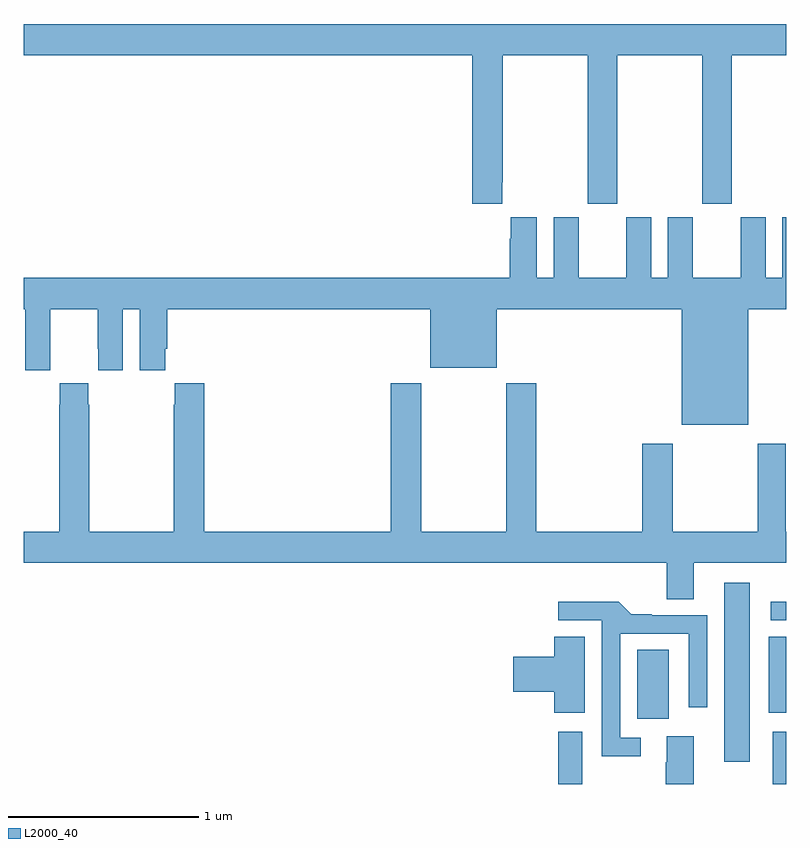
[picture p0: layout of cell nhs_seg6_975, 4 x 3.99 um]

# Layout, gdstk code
import gdstk
lib = gdstk.Library(unit=1e-6, precision=1e-09)
def R(c, l, rs):  # rectangles x0, y0, x1, y1
    for r in rs: c.add(gdstk.rectangle(r[:2], r[2:], *l))
def P(c, l, *ps):  # polygons
    for p in ps: c.add(gdstk.Polygon(p, *l))
L2000_40 = (2000, 40)

nhs_seg6_975 = lib.new_cell('nhs_seg6_975')
R(nhs_seg6_975, L2000_40, [(173.804,955.5,173.929,955.774), (174.929,955.5,175,955.774), (174.674,955.617,174.808,956.557), (174.218,955.842,174.385,956.204), (174.908,955.875,175,956.273), (174.918,956.358,175,956.456)])
P(nhs_seg6_975, L2000_40, [(173.509,958.657),(173.514,958.657),(173.514,959.324),(173.959,959.324),(173.959,958.545),(174.114,958.545),(174.114,959.324),(174.559,959.324),(174.559,958.545),(174.714,958.545),(174.714,959.324),(175,959.324),(175,959.488),(171,959.488),(171,959.324),(173.354,959.324),(173.354,958.545),(173.509,958.545)],
  [(174.802,957.992),(175,957.992),(175,958.474),(174.98,958.474),(174.98,958.156),(174.892,958.156),(174.892,958.474),(174.761,958.474),(174.761,958.156),(174.511,958.156),(174.511,958.474),(174.38,958.474),(174.38,958.156),(174.292,958.156),(174.292,958.474),(174.161,958.474),(174.161,958.156),(173.911,958.156),(173.911,958.474),(173.78,958.474),(173.78,958.156),(173.692,958.156),(173.692,958.474),(173.555,958.474),(173.555,958.361),(173.549,958.361),(173.549,958.156),(171,958.156),(171,957.992),(171.008,957.992),(171.008,957.672),(171.138,957.672),(171.138,957.784),(171.139,957.784),(171.139,957.992),(171.389,957.992),(171.389,957.784),(171.39,957.784),(171.39,957.672),(171.52,957.672),(171.52,957.992),(171.608,957.992),(171.608,957.672),(171.742,957.672),(171.742,957.784),(171.752,957.784),(171.752,957.992),(173.132,957.992),(173.132,957.683),(173.482,957.683),(173.482,957.992),(174.452,957.992),(174.452,957.386),(174.802,957.386)],
  [(171.793,957.604),(171.793,957.491),(171.787,957.491),(171.787,956.824),(171.342,956.824),(171.342,957.491),(171.339,957.491),(171.339,957.604),(171.189,957.604),(171.189,957.491),(171.187,957.491),(171.187,956.824),(171,956.824),(171,956.66),(174.374,956.66),(174.374,956.47),(174.514,956.47),(174.514,956.66),(175,956.66),(175,956.824),(174.997,956.824),(174.997,957.286),(174.85,957.286),(174.85,956.824),(174.405,956.824),(174.405,957.286),(174.245,957.286),(174.245,956.824),(173.69,956.824),(173.69,957.604),(173.53,957.604),(173.53,956.824),(173.085,956.824),(173.085,957.604),(172.925,957.604),(172.925,956.824),(171.947,956.824),(171.947,957.604)],
  [(174.238,955.743),(174.129,955.743),(174.129,956.289),(174.489,956.289),(174.489,955.902),(174.585,955.902),(174.585,956.385),(174.295,956.385),(174.295,956.39),(174.187,956.39),(174.122,956.456),(173.805,956.456),(173.805,956.358),(174.033,956.358),(174.033,955.646),(174.238,955.646)],
  [(173.944,956.273),(173.783,956.273),(173.783,956.168),(173.568,956.168),(173.568,955.985),(173.783,955.985),(173.783,955.875),(173.944,955.875)],
  [(174.514,955.75),(174.374,955.75),(174.374,955.613),(174.367,955.613),(174.367,955.5),(174.514,955.5)])

lib.write_gds('nhs_seg6_975.gds')
